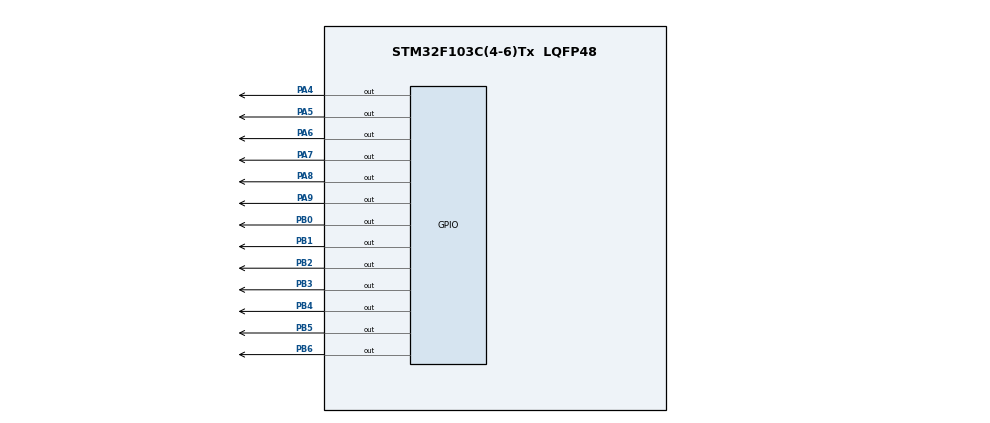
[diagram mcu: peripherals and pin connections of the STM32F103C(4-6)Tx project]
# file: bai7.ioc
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Mcu.Family=STM32F1
Mcu.Name=STM32F103C(4-6)Tx
Mcu.Package=LQFP48
NVIC.PriorityGroup=NVIC_PRIORITYGROUP_4
NVIC.TIM2_IRQn=true\:0\:0\:false\:false\:true\:true\:true\:true
PA4.Signal=GPIO_Output
PA5.Signal=GPIO_Output
PA6.Signal=GPIO_Output
PA7.Signal=GPIO_Output
PA8.Signal=GPIO_Output
PA9.Signal=GPIO_Output
PB0.Signal=GPIO_Output
PB1.Signal=GPIO_Output
PB2.Signal=GPIO_Output
PB3.Signal=GPIO_Output
PB4.Signal=GPIO_Output
PB5.Signal=GPIO_Output
PB6.Signal=GPIO_Output
ProjectManager.HeapSize=0x200
ProjectManager.StackSize=0x400
ProjectManager.TargetToolchain=STM32CubeIDE
RCC.APB1Freq_Value=8000000
RCC.APB2Freq_Value=8000000
TIM2.Period=9
TIM2.Prescaler=7999
VP_TIM2_VS_ClockSourceINT.Mode=Internal
board=custom

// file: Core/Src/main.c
/* USER CODE BEGIN Header */
/**
  ******************************************************************************
  * @file           : main.c
  * @brief          : Main program body
  ******************************************************************************
  * @attention
  *
  * Copyright (c) 2022 STMicroelectronics.
  * All rights reserved.
  *
  * This software is licensed under terms that can be found in the LICENSE file
  * in the root directory of this software component.
  * If no LICENSE file comes with this software, it is provided AS-IS.
  *
  ******************************************************************************
  */
/* USER CODE END Header */
#include "main.h"

/* USER CODE BEGIN Includes */
#include "software_timer.h"
/* USER CODE END Includes */

TIM_HandleTypeDef htim2;

void SystemClock_Config(void);
static void MX_GPIO_Init(void);
static void MX_TIM2_Init(void);

/* USER CODE BEGIN 0 */
int hour = 15, minute = 8, second = 50;
unsigned char SEG[10] = {0x40, 0x79, 0x24, 0x30, 0x19, 0x12, 0x02, 0x78, 0x00, 0x10};
void display7SEG(int num) {
	GPIOB->ODR = SEG[num];
}
const int MAX_LED = 4;
int led_buffer[4] = {1, 5, 0, 8};
int index_led = 0;
void update7SEG(int index){
  switch (index){
	  case 0:
		  //Display the first 7SEG with led_buffer[0]
		  HAL_GPIO_WritePin(GPIOA, GPIO_PIN_6, RESET);
		  HAL_GPIO_WritePin(GPIOA, GPIO_PIN_7, SET);
		  HAL_GPIO_WritePin(GPIOA, GPIO_PIN_8, SET);
		  HAL_GPIO_WritePin(GPIOA, GPIO_PIN_9, SET);
		  display7SEG(led_buffer[0]);
		  break;
	  case 1:
		  //Display the second 7SEG with led_buffer[1]
		  HAL_GPIO_WritePin(GPIOA, GPIO_PIN_6, SET);
		  HAL_GPIO_WritePin(GPIOA, GPIO_PIN_7, RESET);
		  HAL_GPIO_WritePin(GPIOA, GPIO_PIN_8, SET);
		  HAL_GPIO_WritePin(GPIOA, GPIO_PIN_9, SET);
		  display7SEG(led_buffer[1]);
		  break;
	  case 2:
		  //Display the third 7SEG with led_buffer[2]
		  HAL_GPIO_WritePin(GPIOA, GPIO_PIN_6, SET);
		  HAL_GPIO_WritePin(GPIOA, GPIO_PIN_7, SET);
		  HAL_GPIO_WritePin(GPIOA, GPIO_PIN_8, RESET);
		  HAL_GPIO_WritePin(GPIOA, GPIO_PIN_9, SET);
		  display7SEG(led_buffer[2]);
		  break;
	  case 3:
		  //Display the forth 7SEG with led_buffer[3]
		  HAL_GPIO_WritePin(GPIOA, GPIO_PIN_6, SET);
		  HAL_GPIO_WritePin(GPIOA, GPIO_PIN_7, SET);
		  HAL_GPIO_WritePin(GPIOA, GPIO_PIN_8, SET);
		  HAL_GPIO_WritePin(GPIOA, GPIO_PIN_9, RESET);
		  display7SEG(led_buffer[3]);
		  break;
	  default:
		  break;
  }
}
void updateClockBuffer() {
	led_buffer[0] = hour / 10;
	led_buffer[1] = hour % 10;
	led_buffer[2] = minute / 10;
	led_buffer[3] = minute % 10;
}
/* USER CODE END 0 */

int main(void)
{

  /* MCU Configuration--------------------------------------------------------*/

  /* Reset of all peripherals, Initializes the Flash interface and the Systick. */
  HAL_Init();

  /* Configure the system clock */
  SystemClock_Config();

  /* Initialize all configured peripherals */
  MX_GPIO_Init();
  MX_TIM2_Init();
  /* USER CODE BEGIN 2 */
  HAL_TIM_Base_Start_IT(&htim2);
  /* USER CODE END 2 */

  /* Infinite loop */
  /* USER CODE BEGIN WHILE */
  set_timer0(1000);
  while (1)
  {
	  if (timer0_flag == 1) {
		  set_timer0(1000);
		  second++;
		  if (second >= 60){
			  second = 0;
			  minute++;
		  }
		  if(minute >= 60){
			  minute = 0;
			  hour++;
		  }
		  if(hour >=24){
			  hour = 0;
		  }
		  updateClockBuffer();

		  HAL_GPIO_TogglePin(GPIOA, GPIO_PIN_4); //DOT PA4

		  HAL_GPIO_TogglePin(GPIOA, GPIO_PIN_5); //LED PA5
	  }
    /* USER CODE END WHILE */

  }
}

void SystemClock_Config(void)
{
  RCC_OscInitTypeDef RCC_OscInitStruct = {0};
  RCC_ClkInitTypeDef RCC_ClkInitStruct = {0};

  /** Initializes the RCC Oscillators according to the specified parameters
  * in the RCC_OscInitTypeDef structure.
  */
  RCC_OscInitStruct.OscillatorType = RCC_OSCILLATORTYPE_HSI;
  RCC_OscInitStruct.HSIState = RCC_HSI_ON;
  RCC_OscInitStruct.HSICalibrationValue = RCC_HSICALIBRATION_DEFAULT;
  RCC_OscInitStruct.PLL.PLLState = RCC_PLL_NONE;
  if (HAL_RCC_OscConfig(&RCC_OscInitStruct) != HAL_OK)
  {
    Error_Handler();
  }

  /** Initializes the CPU, AHB and APB buses clocks
  */
  RCC_ClkInitStruct.ClockType = RCC_CLOCKTYPE_HCLK|RCC_CLOCKTYPE_SYSCLK
                              |RCC_CLOCKTYPE_PCLK1|RCC_CLOCKTYPE_PCLK2;
  RCC_ClkInitStruct.SYSCLKSource = RCC_SYSCLKSOURCE_HSI;
  RCC_ClkInitStruct.AHBCLKDivider = RCC_SYSCLK_DIV1;
  RCC_ClkInitStruct.APB1CLKDivider = RCC_HCLK_DIV1;
  RCC_ClkInitStruct.APB2CLKDivider = RCC_HCLK_DIV1;

  if (HAL_RCC_ClockConfig(&RCC_ClkInitStruct, FLASH_LATENCY_0) != HAL_OK)
  {
    Error_Handler();
  }
}

static void MX_TIM2_Init(void)
{

  TIM_ClockConfigTypeDef sClockSourceConfig = {0};
  TIM_MasterConfigTypeDef sMasterConfig = {0};

  htim2.Instance = TIM2;
  htim2.Init.Prescaler = 7999;
  htim2.Init.CounterMode = TIM_COUNTERMODE_UP;
  htim2.Init.Period = 9;
  htim2.Init.ClockDivision = TIM_CLOCKDIVISION_DIV1;
  htim2.Init.AutoReloadPreload = TIM_AUTORELOAD_PRELOAD_DISABLE;
  if (HAL_TIM_Base_Init(&htim2) != HAL_OK)
  {
    Error_Handler();
  }
  sClockSourceConfig.ClockSource = TIM_CLOCKSOURCE_INTERNAL;
  if (HAL_TIM_ConfigClockSource(&htim2, &sClockSourceConfig) != HAL_OK)
  {
    Error_Handler();
  }
  sMasterConfig.MasterOutputTrigger = TIM_TRGO_RESET;
  sMasterConfig.MasterSlaveMode = TIM_MASTERSLAVEMODE_DISABLE;
  if (HAL_TIMEx_MasterConfigSynchronization(&htim2, &sMasterConfig) != HAL_OK)
  {
    Error_Handler();
  }

}

static void MX_GPIO_Init(void)
{
  GPIO_InitTypeDef GPIO_InitStruct = {0};

  /* GPIO Ports Clock Enable */
  __HAL_RCC_GPIOA_CLK_ENABLE();
  __HAL_RCC_GPIOB_CLK_ENABLE();

  /*Configure GPIO pin Output Level */
  HAL_GPIO_WritePin(GPIOA, GPIO_PIN_4|GPIO_PIN_5|GPIO_PIN_6|GPIO_PIN_7
                          |GPIO_PIN_8|GPIO_PIN_9, GPIO_PIN_RESET);

  /*Configure GPIO pin Output Level */
  HAL_GPIO_WritePin(GPIOB, GPIO_PIN_0|GPIO_PIN_1|GPIO_PIN_2|GPIO_PIN_3
                          |GPIO_PIN_4|GPIO_PIN_5|GPIO_PIN_6, GPIO_PIN_RESET);

  /*Configure GPIO pins : PA4 PA5 PA6 PA7
                           PA8 PA9 */
  GPIO_InitStruct.Pin = GPIO_PIN_4|GPIO_PIN_5|GPIO_PIN_6|GPIO_PIN_7
                          |GPIO_PIN_8|GPIO_PIN_9;
  GPIO_InitStruct.Mode = GPIO_MODE_OUTPUT_PP;
  GPIO_InitStruct.Pull = GPIO_NOPULL;
  GPIO_InitStruct.Speed = GPIO_SPEED_FREQ_LOW;
  HAL_GPIO_Init(GPIOA, &GPIO_InitStruct);

  /*Configure GPIO pins : PB0 PB1 PB2 PB3
                           PB4 PB5 PB6 */
  GPIO_InitStruct.Pin = GPIO_PIN_0|GPIO_PIN_1|GPIO_PIN_2|GPIO_PIN_3
                          |GPIO_PIN_4|GPIO_PIN_5|GPIO_PIN_6;
  GPIO_InitStruct.Mode = GPIO_MODE_OUTPUT_PP;
  GPIO_InitStruct.Pull = GPIO_NOPULL;
  GPIO_InitStruct.Speed = GPIO_SPEED_FREQ_LOW;
  HAL_GPIO_Init(GPIOB, &GPIO_InitStruct);

}

/* USER CODE BEGIN 4 */
const int reset_counter1 = 25;
int counter1 = reset_counter1;
void HAL_TIM_PeriodElapsedCallback (TIM_HandleTypeDef * htim) {
	timer_run();
	if (counter1 > 0) {
		counter1--;
		if (counter1 <= 0) {
			counter1 = reset_counter1;
			//TODO
			if (index_led >= MAX_LED) {
			  index_led = 0;
			}
			update7SEG(index_led++);
		}
	}
}
/* USER CODE END 4 */

void Error_Handler(void)
{
  __disable_irq();
  while (1)
  {
  }
}
